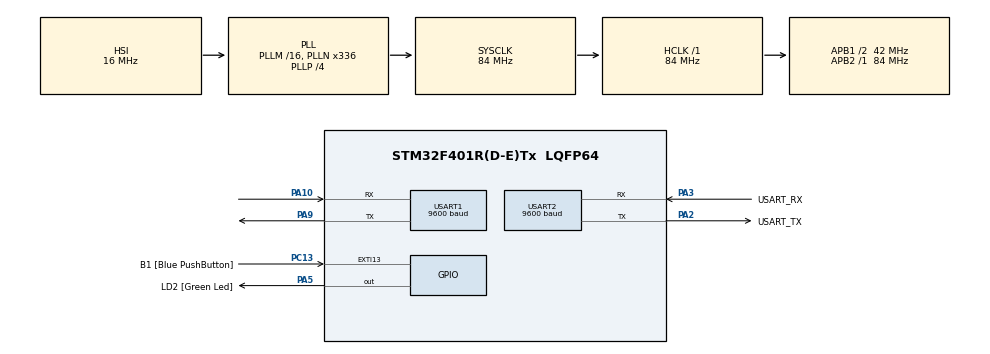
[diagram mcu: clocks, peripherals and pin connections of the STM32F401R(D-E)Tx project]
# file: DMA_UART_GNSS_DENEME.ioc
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Dma.Request0=USART1_RX
Dma.USART1_RX.0.Direction=DMA_PERIPH_TO_MEMORY
Dma.USART1_RX.0.FIFOMode=DMA_FIFOMODE_DISABLE
Dma.USART1_RX.0.Instance=DMA2_Stream5
Dma.USART1_RX.0.MemDataAlignment=DMA_MDATAALIGN_BYTE
Dma.USART1_RX.0.MemInc=DMA_MINC_ENABLE
Dma.USART1_RX.0.Mode=DMA_NORMAL
Dma.USART1_RX.0.PeriphDataAlignment=DMA_PDATAALIGN_BYTE
Dma.USART1_RX.0.PeriphInc=DMA_PINC_DISABLE
Dma.USART1_RX.0.Priority=DMA_PRIORITY_LOW
Mcu.Family=STM32F4
Mcu.Name=STM32F401R(D-E)Tx
Mcu.Package=LQFP64
NVIC.DMA2_Stream5_IRQn=true\:0\:0\:false\:false\:true\:false\:true\:true
NVIC.PriorityGroup=NVIC_PRIORITYGROUP_0
NVIC.USART1_IRQn=true\:0\:0\:false\:false\:true\:true\:true\:true
NVIC.USART2_IRQn=true\:0\:0\:false\:false\:true\:true\:true\:true
PA10.Mode=Asynchronous
PA10.Signal=USART1_RX
PA13.GPIO_Label=TMS
PA13.Mode=Serial_Wire
PA13.Signal=SYS_JTMS-SWDIO
PA14.GPIO_Label=TCK
PA14.Mode=Serial_Wire
PA14.Signal=SYS_JTCK-SWCLK
PA2.GPIO_Label=USART_TX
PA2.GPIO_Mode=GPIO_MODE_AF_PP
PA2.GPIO_PuPd=GPIO_NOPULL
PA2.GPIO_Speed=GPIO_SPEED_FREQ_LOW
PA2.Mode=Asynchronous
PA2.Signal=USART2_TX
PA3.GPIO_Label=USART_RX
PA3.GPIO_Mode=GPIO_MODE_AF_PP
PA3.GPIO_PuPd=GPIO_NOPULL
PA3.GPIO_Speed=GPIO_SPEED_FREQ_LOW
PA3.Mode=Asynchronous
PA3.Signal=USART2_RX
PA5.GPIO_Label=LD2 [Green Led]
PA5.GPIO_Mode=GPIO_MODE_OUTPUT_PP
PA5.GPIO_PuPd=GPIO_NOPULL
PA5.GPIO_Speed=GPIO_SPEED_FREQ_LOW
PA5.Signal=GPIO_Output
PA9.Mode=Asynchronous
PA9.Signal=USART1_TX
PB3.GPIO_Label=SWO
PB3.Signal=SYS_JTDO-SWO
PC13-ANTI_TAMP.GPIO_Label=B1 [Blue PushButton]
PC13-ANTI_TAMP.GPIO_ModeDefaultEXTI=GPIO_MODE_IT_FALLING
PC13-ANTI_TAMP.GPIO_PuPd=GPIO_NOPULL
PC13-ANTI_TAMP.Signal=GPXTI13
PC14-OSC32_IN.Mode=LSE-External-Oscillator
PC14-OSC32_IN.Signal=RCC_OSC32_IN
PC15-OSC32_OUT.Mode=LSE-External-Oscillator
PC15-OSC32_OUT.Signal=RCC_OSC32_OUT
PH0\ -\ OSC_IN.Mode=HSE-External-Clock-Source
PH0\ -\ OSC_IN.Signal=RCC_OSC_IN
PH1\ -\ OSC_OUT.Mode=HSE-External-Clock-Source
PH1\ -\ OSC_OUT.Signal=RCC_OSC_OUT
ProjectManager.HeapSize=0x200
ProjectManager.StackSize=0x400
ProjectManager.TargetToolchain=STM32CubeIDE
RCC.48MHZClocksFreq_Value=48000000
RCC.AHBFreq_Value=84000000
RCC.APB1CLKDivider=RCC_HCLK_DIV2
RCC.APB1Freq_Value=42000000
RCC.APB1TimFreq_Value=84000000
RCC.APB2Freq_Value=84000000
RCC.APB2TimFreq_Value=84000000
RCC.CortexFreq_Value=84000000
RCC.HCLKFreq_Value=84000000
RCC.HSE_VALUE=8000000
RCC.HSI_VALUE=16000000
RCC.PLLN=336
RCC.PLLP=RCC_PLLP_DIV4
RCC.PLLQ=7
RCC.SYSCLKFreq_VALUE=84000000
RCC.SYSCLKSource=RCC_SYSCLKSOURCE_PLLCLK
RCC.VCOOutputFreq_Value=336000000
USART1.BaudRate=9600
USART1.VirtualMode=VM_ASYNC
USART2.BaudRate=9600
USART2.VirtualMode=VM_ASYNC
board=NUCLEO-F401RE

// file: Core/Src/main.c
/* USER CODE BEGIN Header */
/**
  ******************************************************************************
  * @file           : main.c
  * @brief          : Main program body
  ******************************************************************************
  * @attention
  *
  * Copyright (c) 2023 STMicroelectronics.
  * All rights reserved.
  *
  * This software is licensed under terms that can be found in the LICENSE file
  * in the root directory of this software component.
  * If no LICENSE file comes with this software, it is provided AS-IS.
  *
  ******************************************************************************
  */
/* USER CODE END Header */
#include "main.h"

UART_HandleTypeDef huart1;
UART_HandleTypeDef huart2;
DMA_HandleTypeDef hdma_usart1_rx;

/* USER CODE BEGIN PV */

#define RX_BUFFER_SIZE 126  // Maksimum satır boyutunu tanımlayın

uint8_t rxBuffer[RX_BUFFER_SIZE];
uint8_t rxData[RX_BUFFER_SIZE];
volatile uint32_t tempRxDataSize = 0;
volatile uint32_t rxDataSize = 0;
volatile uint8_t lineCompleteFlag = 0;

/* USER CODE END PV */

void SystemClock_Config(void);
static void MX_GPIO_Init(void);
static void MX_DMA_Init(void);
static void MX_USART2_UART_Init(void);
static void MX_USART1_UART_Init(void);

/* USER CODE BEGIN 0 */
void HAL_UART_RxCpltCallback(UART_HandleTypeDef *huart)
{
  if (huart->Instance == USART1 && lineCompleteFlag == 0)
  {
    if (rxBuffer[0] != '\n' && rxDataSize < (RX_BUFFER_SIZE - 1))
    {
      rxData[rxDataSize++] = rxBuffer[0];
    }
    else
    {
      tempRxDataSize = rxDataSize;
      lineCompleteFlag = 1;
      rxDataSize = 0;
    }
  }
}

void HAL_DMA_RxCpltCallback(DMA_HandleTypeDef *hdma)
{
  if (hdma->Instance == DMA2_Stream2 && lineCompleteFlag == 0)  // DMA2_Stream2 için kesme olup olmadığını kontrol
  {
    if (rxBuffer[0] != '\n' && rxDataSize < (RX_BUFFER_SIZE - 1))
    {
    	rxData[rxDataSize++] = rxBuffer[0];
    }
    else
    {
      tempRxDataSize = rxDataSize;
      lineCompleteFlag = 1;
      rxDataSize = 0;
    }

    // Tekrar veri okumak için DMA'yı başlatın
    HAL_UART_Receive_DMA(&huart1, rxBuffer, 1);
  }
}

/* USER CODE END 0 */

int main(void)
{

  /* MCU Configuration--------------------------------------------------------*/

  /* Reset of all peripherals, Initializes the Flash interface and the Systick. */
  HAL_Init();

  /* Configure the system clock */
  SystemClock_Config();

  /* Initialize all configured peripherals */
  MX_GPIO_Init();
  MX_DMA_Init();
  MX_USART2_UART_Init();
  MX_USART1_UART_Init();
  /* USER CODE BEGIN 2 */

  // DMA ile UART alımını başlatın
  HAL_UART_Receive_DMA(&huart1, rxBuffer, 1);

  /* USER CODE END 2 */

  /* Infinite loop */
  while (1)
  {

  }
}

void SystemClock_Config(void)
{
  RCC_OscInitTypeDef RCC_OscInitStruct = {0};
  RCC_ClkInitTypeDef RCC_ClkInitStruct = {0};

  /** Configure the main internal regulator output voltage
  */
  __HAL_RCC_PWR_CLK_ENABLE();
  __HAL_PWR_VOLTAGESCALING_CONFIG(PWR_REGULATOR_VOLTAGE_SCALE2);

  /** Initializes the RCC Oscillators according to the specified parameters
  * in the RCC_OscInitTypeDef structure.
  */
  RCC_OscInitStruct.OscillatorType = RCC_OSCILLATORTYPE_HSI;
  RCC_OscInitStruct.HSIState = RCC_HSI_ON;
  RCC_OscInitStruct.HSICalibrationValue = RCC_HSICALIBRATION_DEFAULT;
  RCC_OscInitStruct.PLL.PLLState = RCC_PLL_ON;
  RCC_OscInitStruct.PLL.PLLSource = RCC_PLLSOURCE_HSI;
  RCC_OscInitStruct.PLL.PLLM = 16;
  RCC_OscInitStruct.PLL.PLLN = 336;
  RCC_OscInitStruct.PLL.PLLP = RCC_PLLP_DIV4;
  RCC_OscInitStruct.PLL.PLLQ = 7;
  if (HAL_RCC_OscConfig(&RCC_OscInitStruct) != HAL_OK)
  {
    Error_Handler();
  }

  /** Initializes the CPU, AHB and APB buses clocks
  */
  RCC_ClkInitStruct.ClockType = RCC_CLOCKTYPE_HCLK|RCC_CLOCKTYPE_SYSCLK
                              |RCC_CLOCKTYPE_PCLK1|RCC_CLOCKTYPE_PCLK2;
  RCC_ClkInitStruct.SYSCLKSource = RCC_SYSCLKSOURCE_PLLCLK;
  RCC_ClkInitStruct.AHBCLKDivider = RCC_SYSCLK_DIV1;
  RCC_ClkInitStruct.APB1CLKDivider = RCC_HCLK_DIV2;
  RCC_ClkInitStruct.APB2CLKDivider = RCC_HCLK_DIV1;

  if (HAL_RCC_ClockConfig(&RCC_ClkInitStruct, FLASH_LATENCY_2) != HAL_OK)
  {
    Error_Handler();
  }
}

static void MX_USART1_UART_Init(void)
{

  huart1.Instance = USART1;
  huart1.Init.BaudRate = 9600;
  huart1.Init.WordLength = UART_WORDLENGTH_8B;
  huart1.Init.StopBits = UART_STOPBITS_1;
  huart1.Init.Parity = UART_PARITY_NONE;
  huart1.Init.Mode = UART_MODE_TX_RX;
  huart1.Init.HwFlowCtl = UART_HWCONTROL_NONE;
  huart1.Init.OverSampling = UART_OVERSAMPLING_16;
  if (HAL_UART_Init(&huart1) != HAL_OK)
  {
    Error_Handler();
  }

}

static void MX_USART2_UART_Init(void)
{

  huart2.Instance = USART2;
  huart2.Init.BaudRate = 9600;
  huart2.Init.WordLength = UART_WORDLENGTH_8B;
  huart2.Init.StopBits = UART_STOPBITS_1;
  huart2.Init.Parity = UART_PARITY_NONE;
  huart2.Init.Mode = UART_MODE_TX_RX;
  huart2.Init.HwFlowCtl = UART_HWCONTROL_NONE;
  huart2.Init.OverSampling = UART_OVERSAMPLING_16;
  if (HAL_UART_Init(&huart2) != HAL_OK)
  {
    Error_Handler();
  }

}

static void MX_DMA_Init(void)
{

  /* DMA controller clock enable */
  __HAL_RCC_DMA2_CLK_ENABLE();

  /* DMA interrupt init */
  /* DMA2_Stream5_IRQn interrupt configuration */
  HAL_NVIC_SetPriority(DMA2_Stream5_IRQn, 0, 0);
  HAL_NVIC_EnableIRQ(DMA2_Stream5_IRQn);

}

static void MX_GPIO_Init(void)
{
  GPIO_InitTypeDef GPIO_InitStruct = {0};

  /* GPIO Ports Clock Enable */
  __HAL_RCC_GPIOC_CLK_ENABLE();
  __HAL_RCC_GPIOH_CLK_ENABLE();
  __HAL_RCC_GPIOA_CLK_ENABLE();
  __HAL_RCC_GPIOB_CLK_ENABLE();

  /*Configure GPIO pin Output Level */
  HAL_GPIO_WritePin(LD2_GPIO_Port, LD2_Pin, GPIO_PIN_RESET);

  /*Configure GPIO pin : B1_Pin */
  GPIO_InitStruct.Pin = B1_Pin;
  GPIO_InitStruct.Mode = GPIO_MODE_IT_FALLING;
  GPIO_InitStruct.Pull = GPIO_NOPULL;
  HAL_GPIO_Init(B1_GPIO_Port, &GPIO_InitStruct);

  /*Configure GPIO pin : LD2_Pin */
  GPIO_InitStruct.Pin = LD2_Pin;
  GPIO_InitStruct.Mode = GPIO_MODE_OUTPUT_PP;
  GPIO_InitStruct.Pull = GPIO_NOPULL;
  GPIO_InitStruct.Speed = GPIO_SPEED_FREQ_LOW;
  HAL_GPIO_Init(LD2_GPIO_Port, &GPIO_InitStruct);

}

void Error_Handler(void)
{
  __disable_irq();
  while (1)
  {
  }
}
